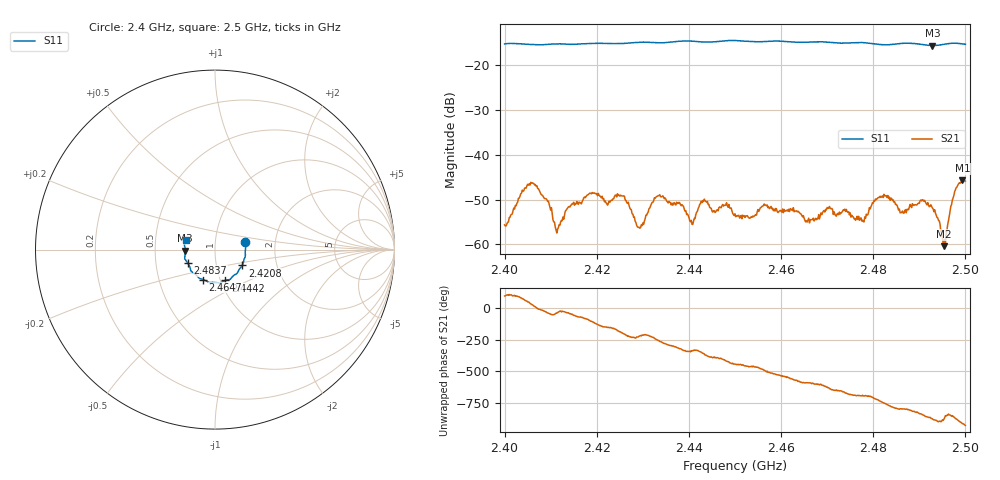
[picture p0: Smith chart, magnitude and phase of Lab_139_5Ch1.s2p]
# Hz S RI R 50
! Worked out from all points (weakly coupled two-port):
!   601 points, 2.4 GHz to 2.5 GHz, reference 50 ohm
!   highest |S21| = -45.72 dB at 2.4993 GHz (marker M1); lowest = -60.4 dB at 2.4953 GHz (marker M2)
!   lowest |S11| = -15.6 dB at 2.4928 GHz (marker M3), VSWR 1.40, Z = 35.8 - j0.389 ohm
!   |S11| at or under -10 dB: start of sweep to end of sweep
!   S12 and S22 are empty: the file has one direction only
!   S11 on the Smith chart (normalised r, x): 2.4 GHz: 1.40, +0.12; 2.4208 GHz: 1.33, -0.24; 2.4442 GHz: 1.05, -0.37; 2.4647 GHz: 0.83, -0.29; 2.4837 GHz: 0.73, -0.11; 2.5 GHz: 0.72, +0.08
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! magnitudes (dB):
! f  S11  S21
! 2.4 GHz  -15.2  -55.6
! 2.4055 GHz  -15.4  -46.8
! 2.4115 GHz  -15.3  -56.6
! 2.4167 GHz  -15.3  -51.0
! 2.4208 GHz  -15.1  -49.3
! 2.4257 GHz  -15.2  -49.2
! 2.4293 GHz  -14.9  -56.4
! 2.4333 GHz  -15.0  -49.1
! 2.4407 GHz  -14.6  -55.5
! 2.4442 GHz  -14.8  -51.1
! 2.45 GHz  -14.5  -53.2
! 2.4647 GHz  -14.9  -53.9
! 2.4667 GHz  -14.8  -54.5
! 2.4705 GHz  -14.9  -51.6
! 2.4775 GHz  -14.9  -54.8
! 2.4833 GHz  -15.4  -49.7
! 2.4837 GHz  -15.4  -50.2
! 2.4928 GHz  -15.6  -51.9
! 2.4953 GHz  -15.3  -60.4
! 2.4977 GHz  -15.1  -48.2
! 2.4993 GHz  -15.2  -45.7
! 2.5 GHz  -15.3  -45.9
